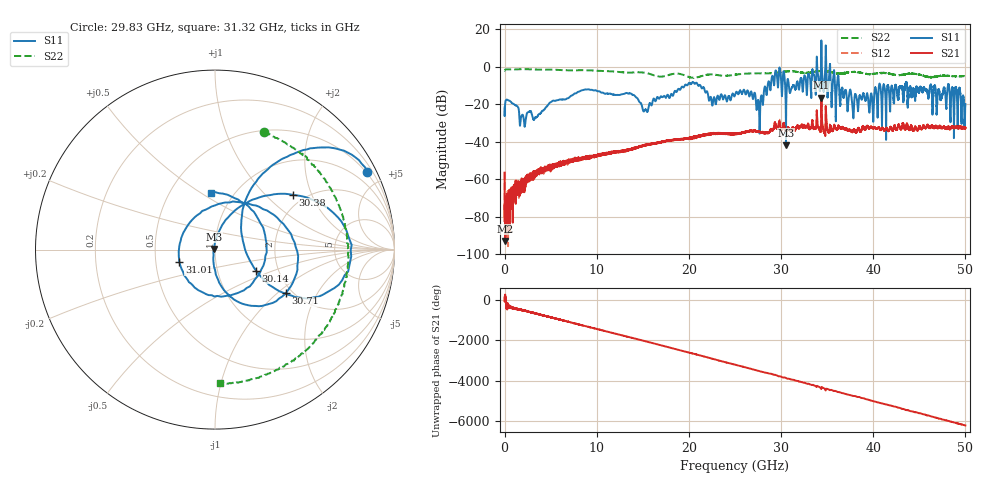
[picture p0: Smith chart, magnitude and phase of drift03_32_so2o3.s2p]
!Created with skrf (http://scikit-rf.org).
# Hz S RI R 50.0
!freq ReS11 ImS11 ReS21 ImS21 ReS12 ImS12 ReS22 ImS22
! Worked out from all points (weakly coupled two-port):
!   10001 points, 300 kHz to 50 GHz, reference 50 ohm
!   highest |S21| = -16.49 dB at 34.37 GHz (marker M1); lowest = -92.9 dB at 60.3 MHz (marker M2)
!   lowest |S11| = -41.9 dB at 30.53 GHz (marker M3), VSWR 1.02, Z = 49.3 + j0.318 ohm
!   |S11| at or under -10 dB: start of sweep to 19.56 GHz; 21.25 GHz to 28.55 GHz (7.297 GHz wide, 29.3 % of centre); 36.29 GHz to 40.62 GHz (4.338 GHz wide, 11.3 % of centre) (the widest 3 of 41)
!   |S22| runs from -5.9 to -1.3 dB; largest |S21 - S12| = 0.026
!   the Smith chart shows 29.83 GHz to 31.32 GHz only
!   S11 on the Smith chart (normalised r, x): 29.83 GHz: 0.45, +4.09; 30.14 GHz: 1.53, -0.39; 30.38 GHz: 1.73, +1.47; 30.71 GHz: 1.84, -1.14; 31.01 GHz: 0.66, -0.09; 31.32 GHz: 0.78, +0.55
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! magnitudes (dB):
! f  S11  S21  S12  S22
! 300 kHz  -21.7  -56.5  -56.4  -2.1
! 60.3 MHz  -19.7  -92.9  -77.5  -1.6
! 255.3 MHz  -17.6  -74.5  -71.3  -1.4
! 3.305 GHz  -27.3  -56.1  -55.9  -1.5
! 8.335 GHz  -12.6  -48.9  -49.4  -1.9
! 15.28 GHz  -22.8  -41.7  -41.5  -3.3
! 16.67 GHz  -16.5  -40.5  -40.6  -5.2
! 20.27 GHz  -9.1  -38.2  -37.7  -5.8
! 25 GHz  -15.3  -35.8  -35.9  -4.3
! 27.53 GHz  -17.9  -34.6  -34.5  -3.5
! 29.83 GHz  -0.4  -29.2  -28.6  -3.0
! 30.14 GHz  -11.8  -33.3  -33.4  -2.8
! 30.38 GHz  -5.5  -32.0  -32.4  -2.6
! 30.53 GHz  -41.9  -34.3  -34.1  -2.6
! 30.71 GHz  -6.7  -32.9  -32.8  -2.5
! 31.01 GHz  -13.6  -34.3  -34.3  -2.4
! 31.32 GHz  -9.9  -32.7  -32.4  -2.6
! 33.34 GHz  -7.5  -31.2  -31.3  -2.9
! 34.37 GHz  14.0  -16.5  -17.9  -2.3
! 37.85 GHz  -27.5  -33.9  -34.3  -2.8
! 41.67 GHz  -11.5  -34.3  -34.0  -3.7
! 50 GHz  -19.9  -32.7  -32.6  -5.0
